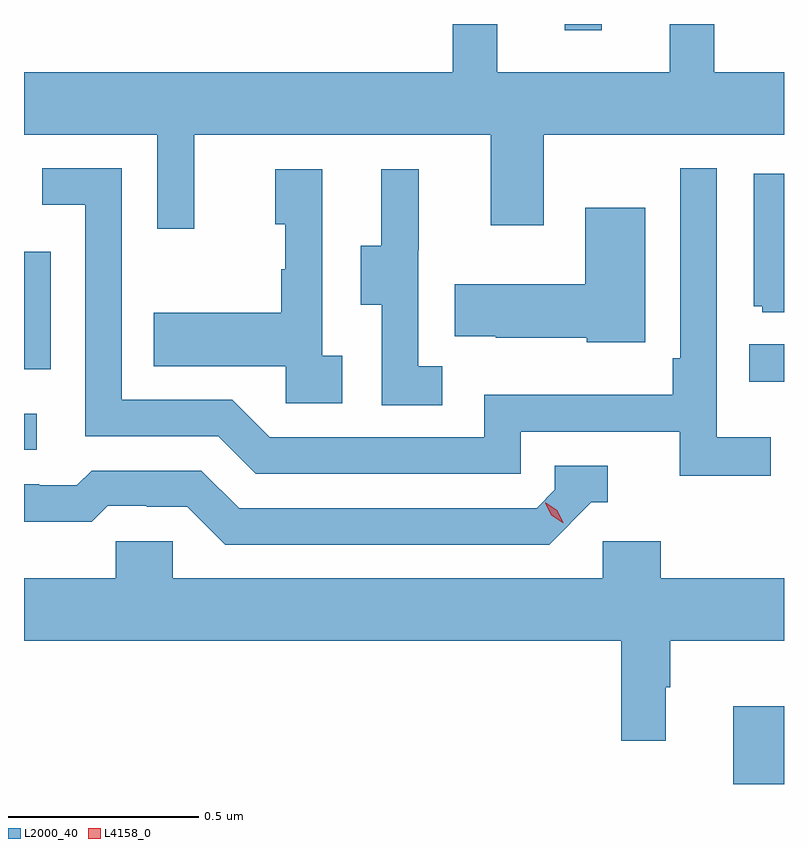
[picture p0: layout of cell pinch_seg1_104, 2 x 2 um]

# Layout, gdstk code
import gdstk
lib = gdstk.Library(unit=1e-6, precision=1e-09)
def R(c, l, rs):  # rectangles x0, y0, x1, y1
    for r in rs: c.add(gdstk.rectangle(r[:2], r[2:], *l))
def P(c, l, *ps):  # polygons
    for p in ps: c.add(gdstk.Polygon(p, *l))
L2000_40 = (2000, 40)
L4158_0 = (4158, 0)

pinch_seg1_104 = lib.new_cell('pinch_seg1_104')
R(pinch_seg1_104, L2000_40, [(1039.526,548.691,1039.659,548.896), (1037.659,549.57,1037.692,549.666), (1039.567,549.749,1039.659,549.848), (1037.659,549.783,1037.73,550.092), (1039.082,550.674,1039.179,550.691)])
P(pinch_seg1_104, L2000_40, [(1038.107,550.4),(1038.887,550.4),(1038.887,550.161),(1039.027,550.161),(1039.027,550.4),(1039.659,550.4),(1039.659,550.564),(1039.475,550.564),(1039.475,550.691),(1039.358,550.691),(1039.358,550.564),(1038.905,550.564),(1038.905,550.691),(1038.787,550.691),(1038.787,550.564),(1037.659,550.564),(1037.659,550.4),(1038.009,550.4),(1038.009,550.152),(1038.107,550.152)],
  [(1039.624,549.604),(1039.482,549.604),(1039.482,550.312),(1039.386,550.312),(1039.386,549.811),(1039.366,549.811),(1039.366,549.715),(1038.87,549.715),(1038.87,549.603),(1038.306,549.603),(1038.207,549.702),(1037.916,549.702),(1037.916,550.311),(1037.707,550.311),(1037.707,550.215),(1037.82,550.215),(1037.82,549.606),(1038.17,549.606),(1038.269,549.507),(1038.966,549.507),(1038.966,549.618),(1039.385,549.618),(1039.385,549.502),(1039.624,549.502)],
  [(1038.76,549.791),(1038.696,549.791),(1038.696,550.095),(1038.698,550.095),(1038.698,550.309),(1038.599,550.309),(1038.599,550.107),(1038.545,550.107),(1038.545,549.952),(1038.6,549.952),(1038.6,549.688),(1038.76,549.688)],
  [(1038.496,549.818),(1038.444,549.818),(1038.444,550.309),(1038.32,550.309),(1038.32,550.164),(1038.346,550.164),(1038.346,550.046),(1038.336,550.046),(1038.336,549.931),(1038.001,549.931),(1038.001,549.791),(1038.348,549.791),(1038.348,549.693),(1038.496,549.693)],
  [(1039.659,550.297),(1039.58,550.297),(1039.58,549.948),(1039.602,549.948),(1039.602,549.933),(1039.659,549.933)],
  [(1039.294,550.207),(1039.136,550.207),(1039.136,550.006),(1038.793,550.006),(1038.793,549.869),(1038.901,549.869),(1038.901,549.866),(1039.14,549.866),(1039.14,549.854),(1039.294,549.854)],
  [(1039.152,549.432),(1039.195,549.432),(1039.195,549.528),(1039.056,549.528),(1039.056,549.465),(1039.008,549.417),(1038.225,549.417),(1038.126,549.516),(1037.837,549.516),(1037.798,549.477),(1037.699,549.477),(1037.699,549.48),(1037.659,549.48),(1037.659,549.381),(1037.837,549.381),(1037.879,549.423),(1037.982,549.423),(1037.982,549.42),(1038.089,549.42),(1038.188,549.321),(1039.041,549.321)],
  [(1039.231,548.805),(1039.348,548.805),(1039.348,548.945),(1039.36,548.945),(1039.36,549.068),(1039.659,549.068),(1039.659,549.232),(1039.334,549.232),(1039.334,549.33),(1039.182,549.33),(1039.182,549.232),(1038.051,549.232),(1038.051,549.33),(1037.901,549.33),(1037.901,549.232),(1037.659,549.232),(1037.659,549.068),(1039.231,549.068)])
P(pinch_seg1_104, L4158_0, [(1039.077,549.378),(1039.047,549.398),(1039.031,549.43),(1039.031,549.431),(1039.032,549.431),(1039.062,549.411),(1039.078,549.378),(1039.078,549.378)])

lib.write_gds('pinch_seg1_104.gds')
